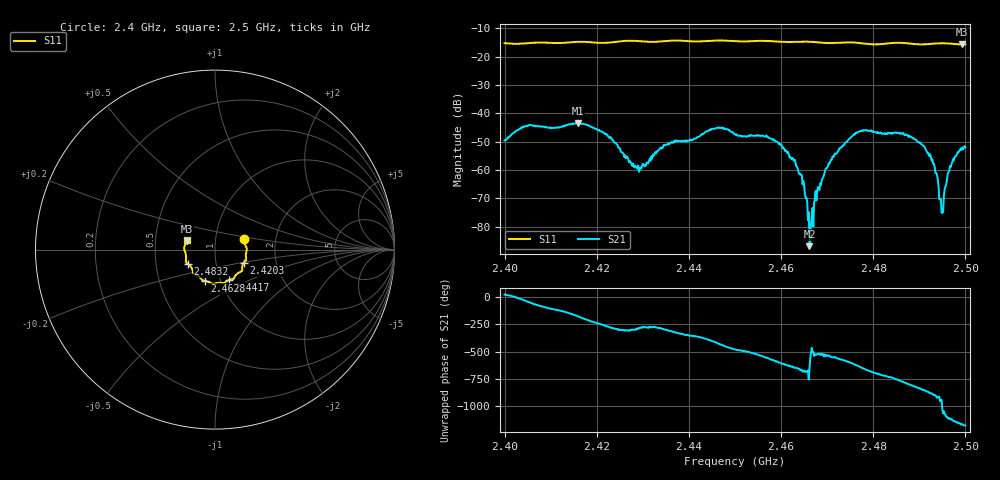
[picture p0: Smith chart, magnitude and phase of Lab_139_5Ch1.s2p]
# Hz S RI R 50
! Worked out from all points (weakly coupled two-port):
!   601 points, 2.4 GHz to 2.5 GHz, reference 50 ohm
!   highest |S21| = -43.38 dB at 2.4158 GHz (marker M1); lowest = -86.9 dB at 2.4662 GHz (marker M2)
!   lowest |S11| = -15.7 dB at 2.4993 GHz (marker M3), VSWR 1.39, Z = 36.2 + j3.41 ohm
!   |S11| at or under -10 dB: start of sweep to end of sweep
!   S12 and S22 are empty: the file has one direction only
!   S11 on the Smith chart (normalised r, x): 2.4 GHz: 1.38, +0.17; 2.4203 GHz: 1.36, -0.21; 2.4417 GHz: 1.09, -0.38; 2.4628 GHz: 0.84, -0.30; 2.4832 GHz: 0.73, -0.12; 2.5 GHz: 0.73, +0.08
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2.4e9  0.1628 0.06  0.00306 0.0013  0 0  0 0
2.415833e9  0.1742 -0.0565  -0.00674 -0.000639  0 0  0 0
2.416667e9  0.1738 -0.0596  -0.00642 0.00102  0 0  0 0
2.420333e9  0.1598 -0.0738  -0.00248 0.00436  0 0  0 0
2.429167e9  0.1414 -0.1239  0.000279 0.00089  0 0  0 0
2.433333e9  0.1129 -0.1457  0.000473 0.00216  0 0  0 0
2.441667e9  0.0757 -0.1695  0.00368 -2.84e-05  0 0  0 0
2.45e9  0.0325 -0.1849  -0.00201 -0.00372  0 0  0 0
2.457333e9  -0.0168 -0.1889  -0.00347 0.00138  0 0  0 0
2.462833e9  -0.0568 -0.1737  0.000408 0.0014  0 0  0 0
2.466167e9  -0.0728 -0.1685  1.51e-05 4.26e-05  0 0  0 0
2.466667e9  -0.0745 -0.1669  -3.82e-05 -0.000147  0 0  0 0
2.469333e9  -0.086 -0.153  -0.000822 5.16e-05  0 0  0 0
2.472833e9  -0.1107 -0.1373  -0.00212 0.00119  0 0  0 0
2.483167e9  -0.1521 -0.0795  0.00431 -0.000606  0 0  0 0
2.483333e9  -0.1531 -0.0787  0.00446 -0.000822  0 0  0 0
2.491e9  -0.1635 -0.0228  -0.00177 -0.00195  0 0  0 0
2.493333e9  -0.1706 -0.00102  -0.00113 -7.65e-05  0 0  0 0
2.494833e9  -0.1726 0.00916  -0.000137 0.000111  0 0  0 0
2.496833e9  -0.1683 0.0219  0.000875 -0.000722  0 0  0 0
2.499333e9  -0.158 0.0458  0.000194 -0.00249  0 0  0 0
2.5e9  -0.1561 0.0537  -0.000171 -0.00251  0 0  0 0
